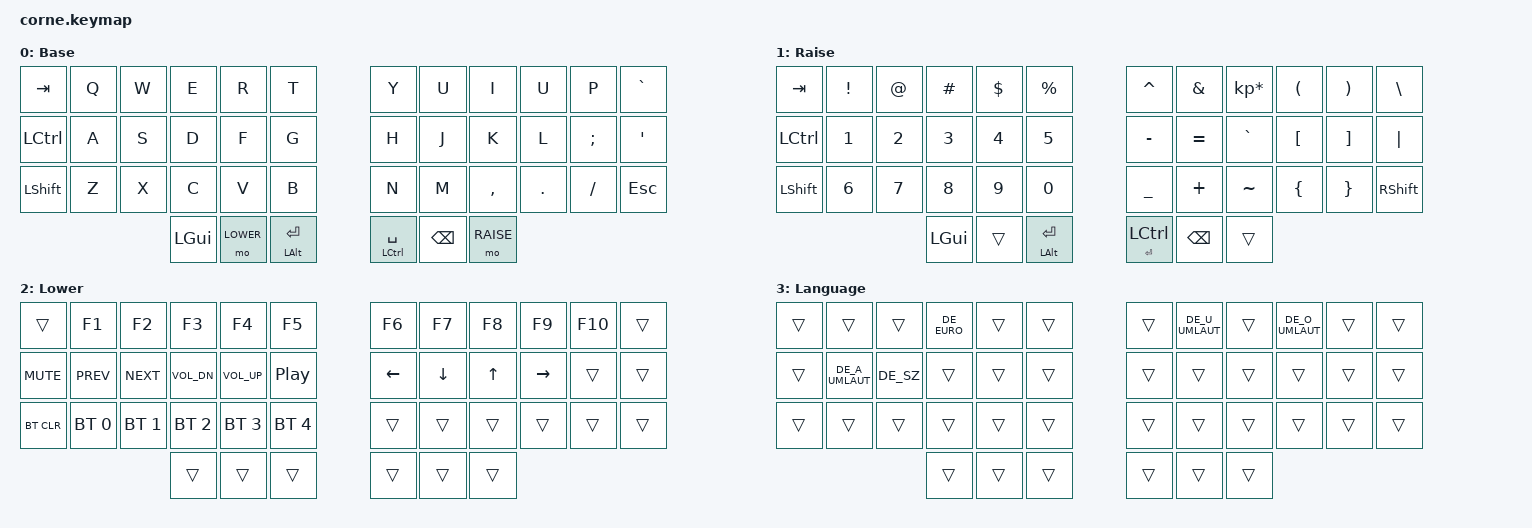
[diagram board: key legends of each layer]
/*
 * Copyright (c) 2020 The ZMK Contributors
 *
 * SPDX-License-Identifier: MIT
 */

#include "keys_de.h"
#include <behaviors.dtsi>
#include <dt-bindings/zmk/bt.h>
#include <dt-bindings/zmk/keys.h>

#define DEFAULT     0
#define RAISE       1
#define LOWER       2
#define LANGUAGE    3

/ {
    behaviors {
        ht: ht {
            compatible = "zmk,behavior-hold-tap";
            label = "Hold or tap";
            bindings = <&kp>, <&kp>;

            #binding-cells = <2>;
            tapping-term-ms = <150>;
            quick-tap-ms = <0>;
            flavor = "tap-preferred";
        };
    };

    combos {
        compatible = "zmk,combos";

        to-language-layer {
            bindings = <&mo LANGUAGE>;
            key-positions = <24 36>;
        };
    };

    keymap {
        compatible = "zmk,keymap";

        Base {
            // ---------------------------------------------------------------------------------------------
            // |  TAB |  Q     |  W      |  E  |  R  |  T  |   |  Y  |  U (Ü) |  I  |  O (Ö)  |  P  | BKSP |
            // | CTRL |  A (Ä) |  S (ß)  |  D  |  F  |  G  |   |  H  |  J     |  K  |  L      |  ;  |  '   |
            // | SHFT |  Z     |  X      |  C  |  V  |  B  |   |  N  |  M     |  ,  |  .      |  /  | ESC  |
            //              | GUI | L1 | Return (Left Alt) |   | Left Control (Return) | Backspace | L2 |
            // ---------------------------------------------------------------------------------------------

            bindings = <
&kp TAB    &kp Q  &kp W  &kp E     &kp R      &kp T                  &kp Y                   &kp U          &kp I      &kp U    &kp P     &kp GRAVE
&kp LCTRL  &kp A  &kp S  &kp D     &kp F      &kp G                  &kp H                   &kp J          &kp K      &kp L    &kp SEMI  &kp SQT
&kp LSHFT  &kp Z  &kp X  &kp C     &kp V      &kp B                  &kp N                   &kp M          &kp COMMA  &kp DOT  &kp FSLH  &kp ESC
                         &kp LGUI  &mo LOWER  &ht LEFT_ALT RETURN    &ht LEFT_CONTROL SPACE  &kp BACKSPACE  &mo RAISE
            >;
        };

        Raise {
            // -----------------------------------------------------------------------------------------
            // |  TAB  |  !  |  @  |  #  |  $  |  %  |      |  ^  |  &  |  *  |  (  |  )  |  \    |
            // | BTCLR |  1  |  2  |  3  |  4  |  5  |      |  -  |  =  |  `  |  [  |  ]  |  |    |
            // | SHFT  |  6  |  7  |  8  |  9  |  0  |      |  _  |  +  |  ~  |  {  |  }  |  SHFT |
            //       | GUI |     | Return (Left Alt) |      | Left Control (Return) | Backspace |   |
            // -----------------------------------------------------------------------------------------

            bindings = <
&kp TAB           &kp EXCLAMATION  &kp AT_SIGN  &kp POUND  &kp DOLLAR  &kp PERCENT         &kp CARET             &kp AMPERSAND  &kp KP_MULTIPLY  &kp LEFT_PARENTHESIS  &kp RIGHT_PARENTHESIS  &kp BSLH
&kp LEFT_CONTROL  &kp N1           &kp N2       &kp N3     &kp N4      &kp N5              &kp MINUS             &kp EQUAL      &kp GRAVE        &kp LBKT              &kp RBKT               &kp PIPE
&kp LSHFT         &kp N6           &kp N7       &kp N8     &kp N9      &kp N0              &kp UNDER             &kp PLUS       &kp TILDE        &kp LBRC              &kp RBRC               &kp RSHFT
                                                &kp LGUI   &trans      &ht LEFT_ALT RET    &ht RET LEFT_CONTROL  &kp BACKSPACE  &trans
            >;
        };

        Lower {
            // -----------------------------------------------------------------------------------------
            // |  F1   |  F2  |  F3  |  F4  |  F5  |      |  F6  |  F7  |  F8  |  F9   |  F10 |       |
            // | MUTE  | PREV | NEXT | VOL- | VOL+ |      | LEFT | DOWN |  UP  | RIGHT |      |       |
            // | BTCLR | BT0  | BT1  | BT2  | BT3  |      |      |      |      |       |      |       |
            //                       |      |      |      |      |      |      |
            // -----------------------------------------------------------------------------------------

            bindings = <
&trans      &kp F1        &kp F2        &kp F3        &kp F4        &kp F5          &kp F6    &kp F7    &kp F8  &kp F9     &kp F10  &trans
&kp C_MUTE  &kp C_PREV    &kp C_NEXT    &kp C_VOL_DN  &kp C_VOL_UP  &kp C_PP        &kp LEFT  &kp DOWN  &kp UP  &kp RIGHT  &trans   &trans
&bt BT_CLR  &bt BT_SEL 0  &bt BT_SEL 1  &bt BT_SEL 2  &bt BT_SEL 3  &bt BT_SEL 4    &trans    &trans    &trans  &trans     &trans   &trans
                                        &trans        &trans        &trans          &trans    &trans    &trans
            >;
        };

        Language {
            bindings = <
&trans  &trans           &trans     &kp DE_EURO  &trans  &trans    &trans  &kp DE_U_UMLAUT  &trans  &kp DE_O_UMLAUT  &trans  &trans
&trans  &kp DE_A_UMLAUT  &kp DE_SZ  &trans       &trans  &trans    &trans  &trans           &trans  &trans           &trans  &trans
&trans  &trans           &trans     &trans       &trans  &trans    &trans  &trans           &trans  &trans           &trans  &trans
                                    &trans       &trans  &trans    &trans  &trans           &trans
            >;
        };
    };
};
